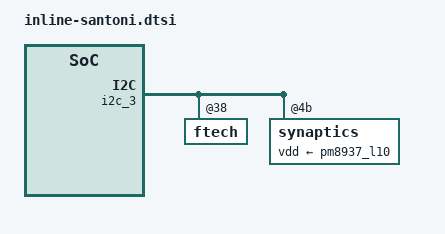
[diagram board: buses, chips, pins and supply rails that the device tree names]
#include "inline-common.dtsi"

&i2c_3 {
	ftech@38 {
		/delete-property/ ftech,button-map;
		/delete-property/ ftech,button-x-coords;
		/delete-property/ ftech,button-y-coord;
		ftech,virtual-key1 = <139 140 2000>;/*menu*/
		ftech,virtual-key2 = <172 360 2000>;/*home*/
		ftech,virtual-key3 = <158 580 2000>;/*back*/
	};
	synaptics@4b {
		vdd-supply = <&pm8937_l10>;
	};
};

&sdc2_cmd_on {
	config {
		drive-strength = <16>;
	};
};

&sdc2_data_on {
	config {
		drive-strength = <16>;
	};
};

&soc {
	qcom,msm-thermal {
		/delete-property/ qcom,therm-reset-temp;
	};
};

&apc_vreg_corner {
	/delete-property/ qcom,cpr-enable;
};

&sdhc_1 {
	qcom,vdd-always-on;
};

&eeprom2 {
	/delete-property/ cam_vaf-supply;
};
